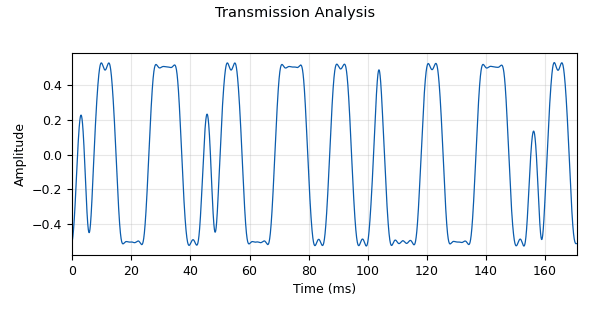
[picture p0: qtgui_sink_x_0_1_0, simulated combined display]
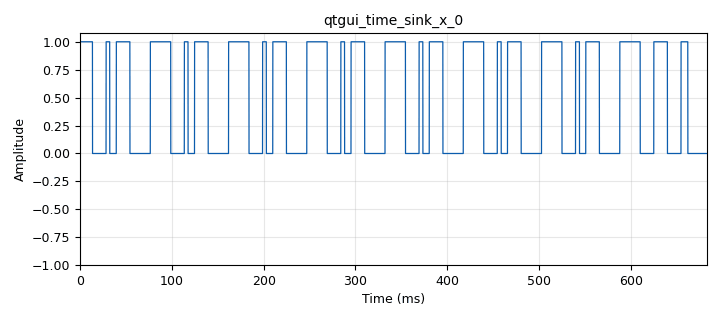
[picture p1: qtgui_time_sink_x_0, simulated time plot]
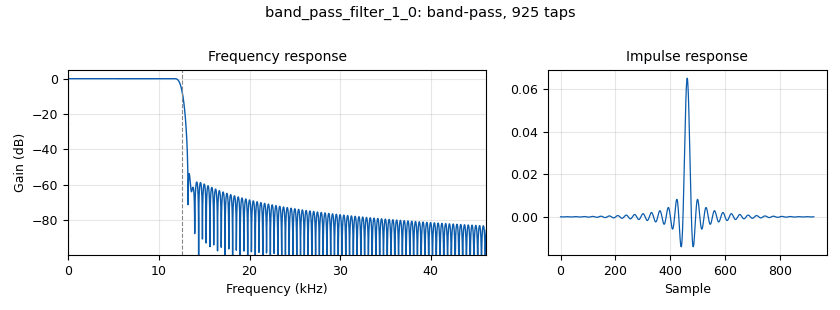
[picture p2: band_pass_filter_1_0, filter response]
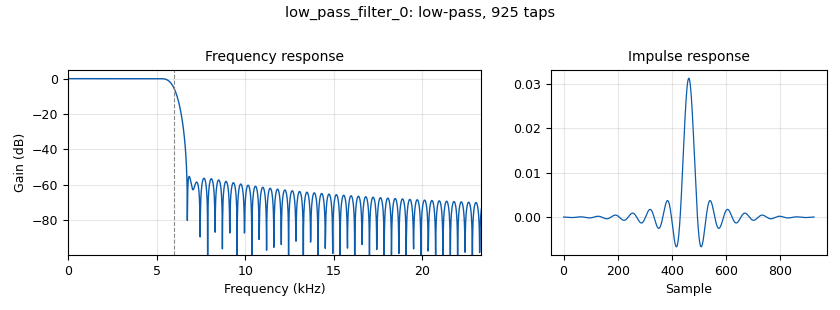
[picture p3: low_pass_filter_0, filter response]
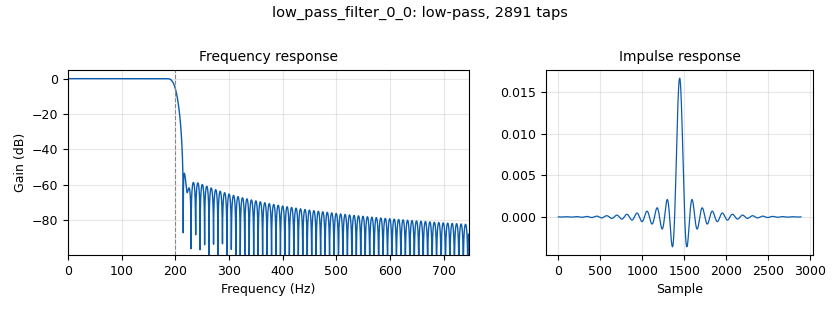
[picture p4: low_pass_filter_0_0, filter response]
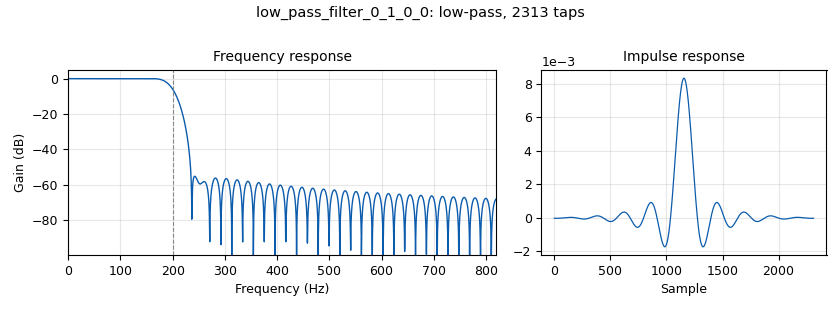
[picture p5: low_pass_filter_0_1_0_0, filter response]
options:
  parameters:
    generate_options: qt_gui
    id: untitled
    output_language: python
    realtime_scheduling: '1'
    title: Walkie Talkie
  states: {}

blocks:
- name: DCS
  id: variable_qtgui_toggle_button_msg
  parameters:
    initPressed: 'True'
    pressBackgroundColor: green
    pressFontColor: white
    pressed: '1'
    relBackgroundColor: gray
    relFontColor: white
    released: '0'
    type: int
    value: '1'
  states: {}
- name: PTT
  id: variable_qtgui_push_button
  parameters:
    label: Push To Talk
    pressed: '1'
    released: '0'
    type: int
    value: '0'
  states: {}
- name: rf_gain
  id: variable_qtgui_range
  parameters:
    label: RF Gain
    outputmsgname: value
    showports: 'False'
    start: '0'
    step: '1'
    stop: '76'
    value: '30'
  states: {}
- name: rf_gain_tx
  id: variable_qtgui_range
  parameters:
    label: Transmit Gain
    outputmsgname: value
    showports: 'False'
    start: '0'
    step: '1'
    stop: '76'
    value: '60'
  states: {}
- name: samp_rate
  id: variable
  parameters:
    value: '384000'
  states: {}
- name: selected_DCS
  id: variable_qtgui_chooser
  parameters:
    label: DCS Tone
    labels: '["OFF","D023N" ]'
    num_opts: '0'
    options: '[0,1,]'
    orient: Qt.QHBoxLayout
    type: int
    value: '0'
  states: {}
- name: selected_channel
  id: variable_qtgui_chooser
  parameters:
    label: Channel
    labels: '["Channel 1", "Channel 2", "Channel 3", "Channel 4", "Channel 5", "Channel 6", "Channel 7", "Channel 8", ]'
    num_opts: '0'
    options: '[0,1, 2,3,4,5,6,7]'
    orient: Qt.QHBoxLayout
    type: int
    value: '0'
    widget: radio_buttons
  states: {}
- name: tuning
  id: variable
  parameters:
    value: '446000000'
  states: {}
- name: analog_nbfm_rx_0
  id: analog_nbfm_rx
  parameters:
    audio_rate: '48000'
    max_dev: 5e3
    quad_rate: '192000'
    tau: '75e-6'
  states: {}
- name: analog_nbfm_tx_0
  id: analog_nbfm_tx
  parameters:
    audio_rate: '24000'
    fh: '-1.0'
    max_dev: 5e3
    quad_rate: '384000'
    tau: '75e-6'
  states: {}
- name: analog_sig_source_x_0
  id: analog_sig_source_x
  parameters:
    amp: '0.5'
    freq: '1000'
    offset: '0'
    phase: '0'
    samp_rate: '24000'
    type: float
    waveform: analog.GR_SIN_WAVE
  states: {state: disabled}
- name: analog_simple_squelch_cc_0
  id: analog_simple_squelch_cc
  parameters:
    alpha: '1'
    threshold: '-30'
  states: {}
- name: audio_sink_0
  id: audio_sink
  parameters:
    samp_rate: '48000'
  states: {}
- name: audio_source_0
  id: audio_source
  parameters:
    device_name: pipewire
    samp_rate: '48000'
  states: {}
- name: band_pass_filter_1_0
  id: band_pass_filter
  parameters:
    decim: '1'
    gain: '1'
    high_cutoff_freq: 1 + 12500*(selected_channel+1)
    low_cutoff_freq: 1 + 12500*selected_channel
    samp_rate: samp_rate
    type: fir_filter_ccf
    width: '1000'
    win: window.WIN_HAMMING
  states: {}
- name: blocks_add_const_vxx_0
  id: blocks_add_const_vxx
  parameters:
    const: '-0.5'
    type: float
  states: {}
- name: blocks_add_xx_0
  id: blocks_add_xx
  parameters:
    type: float
  states: {}
- name: blocks_char_to_float_0
  id: blocks_char_to_float
  parameters:
    scale: '1'
  states: {}
- name: blocks_char_to_float_1
  id: blocks_char_to_float
  parameters:
    scale: '1'
  states: {}
- name: blocks_freqshift_cc_1
  id: blocks_freqshift_cc
  parameters:
    freq: '-12500*selected_channel -6250'
    sample_rate: samp_rate
  states: {}
- name: blocks_moving_average_xx_0
  id: blocks_moving_average_xx
  parameters:
    length: '20000'
    max_iter: '20000'
    scale: 1/20000
    type: float
  states: {}
- name: blocks_moving_average_xx_0_0
  id: blocks_moving_average_xx
  parameters:
    length: '150'
    max_iter: '150'
    scale: 1/150
    type: float
  states: {}
- name: blocks_multiply_const_vxx_0_0_0
  id: blocks_multiply_const_vxx
  parameters:
    const: PTT
    type: complex
  states: {}
- name: blocks_multiply_const_vxx_1
  id: blocks_multiply_const_vxx
  parameters:
    const: '0.5'
    type: float
  states: {}
- name: blocks_multiply_const_vxx_1_0
  id: blocks_multiply_const_vxx
  parameters:
    const: 0.07*DCS
    type: float
  states: {}
- name: blocks_sub_xx_0
  id: blocks_sub_xx
  parameters:
    type: float
  states: {}
- name: digital_binary_slicer_fb_0
  id: digital_binary_slicer_fb
  parameters: {}
  states: {}
- name: epy_block_0
  id: epy_block
  parameters:
    _source_code: |
      """
      Embedded Python Blocks:

      Each time this file is saved, GRC will instantiate the first class it finds
      to get ports and parameters of your block. The arguments to __init__  will
      be the parameters. All of them are required to have default values!
      """

      import numpy as np
      from gnuradio import gr


      class blk(gr.sync_block):  # other base classes are basic_block, decim_block, interp_block
          """Embedded Python Block example - a simple multiply const"""

          def __init__(self, dcs_code=0):  # only default arguments here
              """arguments to this function show up as parameters in GRC"""
              gr.sync_block.__init__(
                  self,
                  name='DCS Generator',   # will show up in GRC
                  in_sig=[],
                  out_sig=[np.byte]
              )
              # if an attribute with the same name as a parameter is found,
              # a callback is registered (properties work, too).
              self.stored_codes = [np.array([0,0,0,0,0,0,0,0,0,0,0,0,0,0,0,0,0,0,0,0,0,0,0]),
                                   np.array([0,1,1,0,0,0,1,1,1,0,0,1,1,0,0,1,0,0,0,0,0,0,1])]
              self.dcs_code = int(dcs_code)

              # self.selected_code = [[0,1,1,0,0,0,1,1,1,0,0,1,1,0,0,1,0,0,0,0,0,0,1]]
              self.selected_code = [self.stored_codes[self.dcs_code]]
              self.long_code = np.repeat(self.selected_code,178,axis=1)
              print(self.long_code[0])
              self.lastIndex = 0

          def work(self,input_items, output_items):
              """example: multiply with constant"""
              out = output_items[0]
              length = len(out)

              if(self.lastIndex+length >= 4094-1):
                  self.lastIndex = self.lastIndex % 23 

              out[:] = self.long_code[0][self.lastIndex:self.lastIndex+length]
              self.lastIndex = self.lastIndex + length 

              

             
              return length
    dcs_code: '1.0'
    maxoutbuf: '4094'
  states: {}
- name: epy_block_1
  id: epy_block
  parameters:
    _source_code: |
      """
      Embedded Python Blocks:

      Each time this file is saved, GRC will instantiate the first class it finds
      to get ports and parameters of your block. The arguments to __init__  will
      be the parameters. All of them are required to have default values!
      """

      import numpy as np
      from gnuradio import gr


      class blk(gr.sync_block):  # other base classes are basic_block, decim_block, interp_block
          """Embedded Python Block example - a simple multiply const"""

          def __init__(self, selected_dcs_code=0):  # only default arguments here
              """arguments to this function show up as parameters in GRC"""
              gr.sync_block.__init__(
                  self,
                  name='DCS Squelch',   # will show up in GRC
                  in_sig=[np.float32],
                  out_sig=[np.float32]
              )
              # if an attribute with the same name as a parameter is found,
              # a callback is registered (properties work, too).
              self.selected_dcs_code = selected_dcs_code

              self.squelch_open = 0

          def work(self, input_items, output_items):
              """example: multiply with constant"""
              output_items[0][:] = input_items[0][:]
              return len(output_items[0])
    selected_dcs_code: '0'
  states: {}
- name: low_pass_filter_0
  id: low_pass_filter
  parameters:
    cutoff_freq: '6000'
    decim: '1'
    gain: '1'
    samp_rate: '384000'
    type: fir_filter_ccf
    width: '1000'
    win: window.WIN_HAMMING
  states: {}
- name: low_pass_filter_0_0
  id: low_pass_filter
  parameters:
    cutoff_freq: '200'
    decim: '1'
    gain: '1'
    samp_rate: '24000'
    type: fir_filter_fff
    width: '20'
    win: window.WIN_HAMMING
  states: {}
- name: low_pass_filter_0_1
  id: low_pass_filter
  parameters:
    cutoff_freq: '6000'
    decim: '2'
    gain: '1'
    samp_rate: samp_rate
    type: fir_filter_ccf
    width: '1000'
    win: window.WIN_HAMMING
  states: {}
- name: low_pass_filter_0_1_0_0
  id: low_pass_filter
  parameters:
    cutoff_freq: '200'
    decim: '1'
    gain: '1'
    samp_rate: '48000'
    type: fir_filter_fff
    width: '50'
    win: window.WIN_HAMMING
  states: {}
- name: low_pass_filter_0_1_0_0_0
  id: low_pass_filter
  parameters:
    cutoff_freq: '150'
    decim: '1'
    gain: '1'
    samp_rate: '48000'
    type: fir_filter_fff
    width: '50'
    win: window.WIN_HAMMING
  states: {}
- name: mmse_resampler_xx_0
  id: mmse_resampler_xx
  parameters:
    phase_shift: '0'
    resamp_ratio: '1.997'
    type: float
  states: {}
- name: mmse_resampler_xx_1
  id: mmse_resampler_xx
  parameters:
    phase_shift: '0'
    resamp_ratio: '357'
    type: float
  states: {state: disabled}
- name: qtgui_sink_x_0_1
  id: qtgui_sink_x
  parameters:
    bw: '384000'
    fc: tuning
    fftsize: '8192'
    name: '"Transmission Analysis"'
    plotfreq: 'False'
    rate: '100'
    showrf: 'True'
    type: complex
  states: {}
- name: qtgui_sink_x_0_1_0
  id: qtgui_sink_x
  parameters:
    bw: '48000'
    fc: '0'
    fftsize: '8192'
    name: '"Transmission Analysis"'
    plotconst: 'False'
    plotfreq: 'False'
    plotwaterfall: 'False'
    rate: '100'
    type: float
  states: {}
- name: qtgui_sink_x_0_1_0_0
  id: qtgui_sink_x
  parameters:
    bw: '200000'
    fc: tuning
    fftsize: '8192'
    name: '"Shifted Freq"'
    rate: '100'
    showrf: 'True'
    type: complex
  states: {}
- name: qtgui_sink_x_0_1_0_0_0
  id: qtgui_sink_x
  parameters:
    bw: samp_rate
    fc: tuning
    fftsize: '8192'
    name: '"Shifted Freq"'
    rate: '100'
    showrf: 'True'
    type: complex
  states: {}
- name: qtgui_sink_x_0_1_0_0_0_0
  id: qtgui_sink_x
  parameters:
    bw: samp_rate
    fc: tuning
    fftsize: '8192'
    name: '"Shifted Freq"'
    rate: '100'
    showrf: 'True'
    type: complex
  states: {}
- name: qtgui_sink_x_0_1_0_0_1_0
  id: qtgui_sink_x
  parameters:
    bw: '48000'
    fc: '0'
    fftsize: '32768'
    name: '"Shifted Freq"'
    plotconst: 'False'
    plottime: 'False'
    plotwaterfall: 'False'
    rate: '100'
    type: float
  states: {}
- name: qtgui_sink_x_0_1_0_0_1_0_0
  id: qtgui_sink_x
  parameters:
    bw: '48000'
    fc: '0'
    fftsize: '32768'
    name: '"Shifted Freq"'
    plotconst: 'False'
    plotfreq: 'False'
    plotwaterfall: 'False'
    rate: '100'
    type: float
  states: {}
- name: qtgui_time_sink_x_0
  id: qtgui_time_sink_x
  parameters:
    grid: 'True'
    size: int(32768/2)
    srate: '24000'
    type: float
  states: {}
- name: uhd_usrp_sink_0
  id: uhd_usrp_sink
  parameters:
    ant0: '"TX/RX"'
    bw0: '200000'
    center_freq0: tuning+6250+(12500*selected_channel)
    gain0: rf_gain_tx*PTT-(1-PTT)*30
    otw: sc16
    samp_rate: '192000'
    sync: pc_clock
    type: fc32
  states: {}
- name: uhd_usrp_source_0
  id: uhd_usrp_source
  parameters:
    ant0: '"RX2"'
    bw0: '200000'
    center_freq0: tuning
    gain0: rf_gain
    rx_agc0: Disabled
    samp_rate: samp_rate
    sync: none
    type: fc32
  states: {}

connections:
- [analog_nbfm_rx_0, '0', epy_block_1, '0']
- [analog_nbfm_rx_0, '0', low_pass_filter_0_1_0_0, '0']
- [analog_nbfm_rx_0, '0', qtgui_sink_x_0_1_0_0_1_0, '0']
- [analog_nbfm_tx_0, '0', low_pass_filter_0, '0']
- [analog_sig_source_x_0, '0', blocks_multiply_const_vxx_1, '0']
- [analog_simple_squelch_cc_0, '0', analog_nbfm_rx_0, '0']
- [audio_source_0, '0', mmse_resampler_xx_0, '0']
- [band_pass_filter_1_0, '0', blocks_freqshift_cc_1, '0']
- [blocks_add_const_vxx_0, '0', low_pass_filter_0_0, '0']
- [blocks_add_xx_0, '0', analog_nbfm_tx_0, '0']
- [blocks_char_to_float_0, '0', qtgui_sink_x_0_1_0_0_1_0_0, '0']
- [blocks_char_to_float_1, '0', blocks_add_const_vxx_0, '0']
- [blocks_char_to_float_1, '0', qtgui_time_sink_x_0, '0']
- [blocks_freqshift_cc_1, '0', low_pass_filter_0_1, '0']
- [blocks_freqshift_cc_1, '0', qtgui_sink_x_0_1_0_0_0_0, '0']
- [blocks_moving_average_xx_0, '0', blocks_sub_xx_0, '1']
- [blocks_moving_average_xx_0_0, '0', blocks_multiply_const_vxx_1_0, '0']
- [blocks_moving_average_xx_0_0, '0', qtgui_sink_x_0_1_0, '0']
- [blocks_multiply_const_vxx_0_0_0, '0', qtgui_sink_x_0_1, '0']
- [blocks_multiply_const_vxx_0_0_0, '0', uhd_usrp_sink_0, '0']
- [blocks_multiply_const_vxx_1, '0', blocks_add_xx_0, '0']
- [blocks_multiply_const_vxx_1_0, '0', blocks_add_xx_0, '1']
- [blocks_sub_xx_0, '0', low_pass_filter_0_1_0_0_0, '0']
- [digital_binary_slicer_fb_0, '0', blocks_char_to_float_0, '0']
- [epy_block_0, '0', blocks_char_to_float_1, '0']
- [epy_block_1, '0', audio_sink_0, '0']
- [low_pass_filter_0, '0', blocks_multiply_const_vxx_0_0_0, '0']
- [low_pass_filter_0_0, '0', blocks_moving_average_xx_0_0, '0']
- [low_pass_filter_0_1, '0', analog_simple_squelch_cc_0, '0']
- [low_pass_filter_0_1, '0', qtgui_sink_x_0_1_0_0_0, '0']
- [low_pass_filter_0_1_0_0, '0', blocks_moving_average_xx_0, '0']
- [low_pass_filter_0_1_0_0, '0', blocks_sub_xx_0, '0']
- [low_pass_filter_0_1_0_0_0, '0', digital_binary_slicer_fb_0, '0']
- [low_pass_filter_0_1_0_0_0, '0', mmse_resampler_xx_1, '0']
- [mmse_resampler_xx_0, '0', blocks_multiply_const_vxx_1, '0']
- [mmse_resampler_xx_1, '0', digital_binary_slicer_fb_0, '0']
- [uhd_usrp_source_0, '0', band_pass_filter_1_0, '0']
- [uhd_usrp_source_0, '0', qtgui_sink_x_0_1_0_0, '0']

metadata:
  file_format: 1
  grc_version: 3.10.4.0
